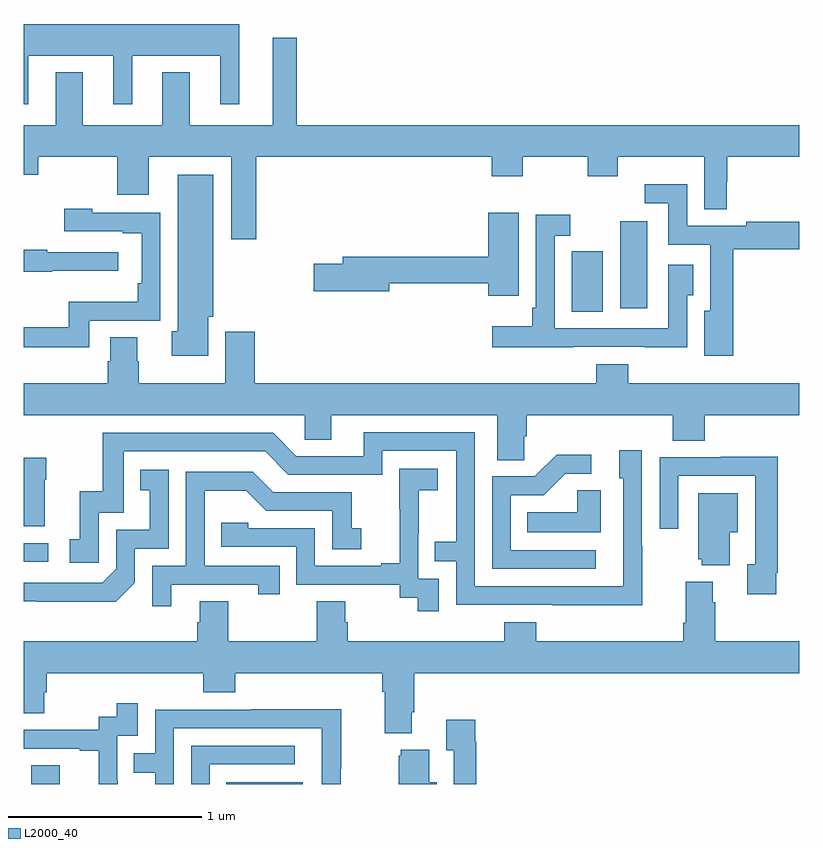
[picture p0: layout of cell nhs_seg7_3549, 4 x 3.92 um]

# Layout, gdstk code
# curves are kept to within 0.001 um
import gdstk
lib = gdstk.Library(unit=1e-6, precision=1e-09)
def R(c, l, rs):  # rectangles x0, y0, x1, y1
    for r in rs: c.add(gdstk.rectangle(r[:2], r[2:], *l))
def P(c, l, *ps):  # polygons
    for p in ps: c.add(gdstk.Polygon(p, *l))
L2000_40 = (2000, 40)

nhs_seg7_3549 = lib.new_cell('nhs_seg7_3549')
R(nhs_seg7_3549, L2000_40, [(337.038,1044,337.186,1044.097), (338.044,1044,338.44,1044.01), (337,1045.146,337.126,1045.242), (339.827,1046.437,339.988,1046.748), (340.076,1046.454,340.216,1046.905)])
P(nhs_seg7_3549, L2000_40, [(337.021,1047.758),(337.46,1047.758),(337.46,1047.507),(337.558,1047.507),(337.558,1047.758),(338.012,1047.758),(338.012,1047.507),(338.11,1047.507),(338.11,1047.922),(337,1047.922),(337,1047.507),(337.021,1047.507)],
  [(338.198,1047.236),(339.413,1047.236),(339.413,1047.137),(339.573,1047.137),(339.573,1047.236),(339.91,1047.236),(339.91,1047.137),(340.065,1047.137),(340.065,1047.236),(340.511,1047.236),(340.511,1046.965),(340.628,1046.965),(340.628,1047.108),(340.63,1047.108),(340.63,1047.236),(341,1047.236),(341,1047.4),(338.407,1047.4),(338.407,1047.85),(338.285,1047.85),(338.285,1047.4),(337.855,1047.4),(337.855,1047.673),(337.715,1047.673),(337.715,1047.4),(337.303,1047.4),(337.303,1047.673),(337.163,1047.673),(337.163,1047.4),(337,1047.4),(337,1047.143),(337.075,1047.143),(337.075,1047.236),(337.481,1047.236),(337.481,1047.042),(337.645,1047.042),(337.645,1047.236),(338.069,1047.236),(338.069,1046.811),(338.198,1046.811)],
  [(337.951,1046.412),(337.978,1046.412),(337.978,1047.145),(337.793,1047.145),(337.793,1046.336),(337.763,1046.336),(337.763,1046.21),(337.951,1046.21)],
  [(340.66,1046.759),(341,1046.759),(341,1046.901),(340.728,1046.901),(340.728,1046.88),(340.422,1046.88),(340.422,1047.094),(340.203,1047.094),(340.203,1046.997),(340.326,1046.997),(340.326,1046.784),(340.541,1046.784),(340.541,1046.443),(340.511,1046.443),(340.511,1046.211),(340.66,1046.211)],
  [(337.338,1046.391),(337.704,1046.391),(337.704,1046.949),(337.353,1046.949),(337.353,1046.968),(337.209,1046.968),(337.209,1046.853),(337.511,1046.853),(337.511,1046.841),(337.608,1046.841),(337.608,1046.584),(337.588,1046.584),(337.588,1046.488),(337.23,1046.488),(337.23,1046.357),(337,1046.357),(337,1046.255),(337.338,1046.255)],
  [(339.553,1046.947),(339.395,1046.947),(339.395,1046.72),(338.645,1046.72),(338.645,1046.684),(338.496,1046.684),(338.496,1046.542),(338.884,1046.542),(338.884,1046.584),(339.395,1046.584),(339.395,1046.52),(339.553,1046.52)],
  [(339.835,1046.256),(340.201,1046.256),(340.201,1046.255),(340.422,1046.255),(340.422,1046.521),(340.453,1046.521),(340.453,1046.68),(340.326,1046.68),(340.326,1046.352),(339.738,1046.352),(339.738,1046.829),(339.82,1046.829),(339.82,1046.938),(339.642,1046.938),(339.642,1046.458),(339.622,1046.458),(339.622,1046.362),(339.417,1046.362),(339.417,1046.255),(339.835,1046.255)],
  [(337.145,1046.648),(337.486,1046.648),(337.486,1046.745),(337.121,1046.745),(337.121,1046.758),(337,1046.758),(337,1046.644),(337.145,1046.644)],
  [(339.582,1045.795),(339.596,1045.795),(339.596,1045.904),(340.349,1045.904),(340.349,1045.771),(340.514,1045.771),(340.514,1045.904),(341,1045.904),(341,1046.068),(340.118,1046.068),(340.118,1046.167),(339.953,1046.167),(339.953,1046.068),(338.192,1046.068),(338.192,1046.335),(338.039,1046.335),(338.039,1046.068),(337.593,1046.068),(337.593,1046.181),(337.585,1046.181),(337.585,1046.306),(337.445,1046.306),(337.445,1046.181),(337.433,1046.181),(337.433,1046.068),(337,1046.068),(337,1045.904),(338.448,1045.904),(338.448,1045.777),(338.587,1045.777),(338.587,1045.904),(339.443,1045.904),(339.443,1045.672),(339.582,1045.672)],
  [(340.191,1045.229),(340.188,1045.229),(340.188,1045.723),(340.073,1045.723),(340.073,1045.578),(340.092,1045.578),(340.092,1045.02),(339.327,1045.02),(339.327,1045.815),(338.753,1045.815),(338.753,1045.692),(338.406,1045.692),(338.286,1045.812),(337.407,1045.812),(337.407,1045.51),(337.289,1045.51),(337.289,1045.263),(337.236,1045.263),(337.236,1045.143),(337.386,1045.143),(337.386,1045.401),(337.515,1045.401),(337.515,1045.716),(338.244,1045.716),(338.364,1045.596),(338.85,1045.596),(338.85,1045.719),(339.231,1045.719),(339.231,1045.25),(339.121,1045.25),(339.121,1045.149),(339.231,1045.149),(339.231,1044.924),(340.191,1044.923)],
  [(339.952,1045.206),(339.513,1045.206),(339.513,1045.491),(339.682,1045.491),(339.793,1045.602),(339.928,1045.602),(339.928,1045.7),(339.749,1045.7),(339.636,1045.587),(339.417,1045.587),(339.417,1045.11),(339.952,1045.11)],
  [(340.882,1045.09),(340.889,1045.09),(340.889,1045.688),(340.597,1045.688),(340.597,1045.686),(340.281,1045.686),(340.281,1045.317),(340.377,1045.317),(340.377,1045.59),(340.773,1045.59),(340.773,1045.134),(340.733,1045.134),(340.733,1044.978),(340.882,1044.978)],
  [(337.108,1045.571),(337.116,1045.571),(337.116,1045.684),(337,1045.684),(337,1045.331),(337.108,1045.331)],
  [(339.141,1045.059),(339.036,1045.059),(339.036,1045.289),(339.038,1045.289),(339.038,1045.517),(339.136,1045.517),(339.136,1045.627),(338.938,1045.627),(338.938,1045.421),(338.939,1045.421),(338.939,1045.138),(338.843,1045.138),(338.843,1045.125),(338.502,1045.125),(338.502,1045.32),(338.157,1045.32),(338.157,1045.347),(338.017,1045.347),(338.017,1045.224),(338.406,1045.224),(338.406,1045.029),(338.94,1045.029),(338.94,1044.961),(339.033,1044.961),(339.033,1044.891),(339.141,1044.891)],
  [(337.572,1045.038),(337.572,1045.215),(337.746,1045.215),(337.746,1045.621),(337.6,1045.621),(337.6,1045.515),(337.649,1045.515),(337.649,1045.311),(337.476,1045.311),(337.476,1045.11),(337.404,1045.038),(337,1045.038),(337,1044.942),(337.066,1044.941),(337.474,1044.941)],
  [(337.759,1045.029),(338.21,1045.029),(338.21,1044.978),(338.321,1044.978),(338.321,1045.125),(337.932,1045.125),(337.932,1045.514),(338.146,1045.514),(338.25,1045.41),(338.592,1045.41),(338.592,1045.212),(338.74,1045.212),(338.74,1045.321),(338.691,1045.321),(338.691,1045.506),(338.287,1045.506),(338.182,1045.611),(337.836,1045.611),(337.836,1045.125),(337.662,1045.125),(337.662,1044.918),(337.759,1044.918)],
  [(339.976,1045.517),(339.855,1045.517),(339.855,1045.402),(339.598,1045.402),(339.598,1045.298),(339.976,1045.298)],
  [(340.642,1045.298),(340.684,1045.298),(340.684,1045.501),(340.481,1045.501),(340.481,1045.161),(340.499,1045.161),(340.499,1045.13),(340.642,1045.13)],
  [(341,1044.736),(340.568,1044.736),(340.568,1044.938),(340.555,1044.938),(340.555,1045.045),(340.415,1045.045),(340.415,1044.832),(340.403,1044.832),(340.403,1044.736),(339.644,1044.736),(339.644,1044.835),(339.479,1044.835),(339.479,1044.736),(338.672,1044.736),(338.672,1044.834),(338.659,1044.834),(338.659,1044.944),(338.512,1044.944),(338.512,1044.736),(338.055,1044.736),(338.055,1044.944),(337.907,1044.944),(337.907,1044.834),(337.895,1044.834),(337.895,1044.736),(337,1044.736),(337,1044.364),(337.105,1044.364),(337.105,1044.474),(337.118,1044.474),(337.118,1044.572),(337.925,1044.572),(337.925,1044.473),(338.09,1044.473),(338.09,1044.572),(338.849,1044.572),(338.849,1044.476),(338.861,1044.476),(338.861,1044.263),(339.001,1044.263),(339.001,1044.37),(339.014,1044.37),(339.014,1044.572),(341,1044.572)],
  [(337.484,1044.02),(337.482,1044.02),(337.482,1044.249),(337.587,1044.249),(337.587,1044.418),(337.479,1044.418),(337.479,1044.348),(337.386,1044.348),(337.386,1044.279),(337,1044.279),(337,1044.183),(337.289,1044.183),(337.289,1044.171),(337.385,1044.171),(337.385,1044),(337.484,1044)],
  [(337.773,1044.288),(338.537,1044.288),(338.537,1044.037),(338.538,1044.037),(338.538,1044),(338.634,1044),(338.634,1044.079),(338.637,1044.079),(338.637,1044.386),(338.173,1044.386),(338.173,1044.384),(337.677,1044.384),(337.677,1044.159),(337.567,1044.159),(337.567,1044.058),(337.677,1044.058),(337.677,1044),(337.773,1044)],
  [(339.335,1044.218),(339.328,1044.218),(339.328,1044.331),(339.179,1044.331),(339.179,1044.175),(339.219,1044.175),(339.219,1044),(339.335,1044)],
  [(337.959,1044.102),(338.398,1044.102),(338.398,1044.198),(337.863,1044.198),(337.863,1044),(337.959,1044)],
  [(339.13,1044.01),(339.091,1044.01),(339.091,1044.178),(338.945,1044.178),(338.945,1044.147),(338.933,1044.147),(338.933,1044),(339.13,1044)])

lib.write_gds('nhs_seg7_3549.gds')
